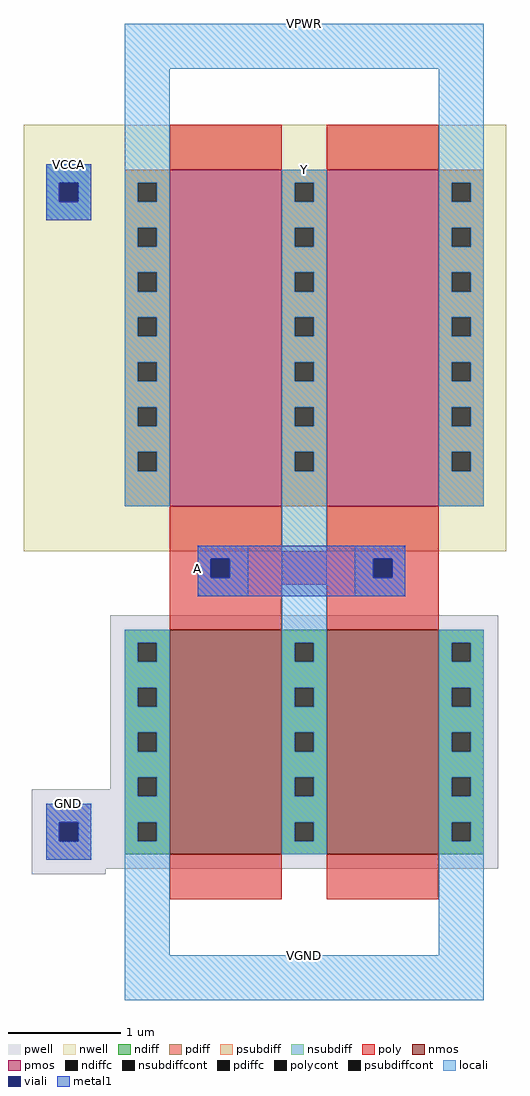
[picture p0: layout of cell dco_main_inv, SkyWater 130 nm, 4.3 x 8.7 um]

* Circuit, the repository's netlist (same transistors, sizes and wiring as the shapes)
* NGSPICE file created from dco_main_inv.ext - technology: sky130A

.subckt dco_main_inv VPWR VCCA Y GND VGND A
X0 Y A VGND GND sky130_fd_pr__nfet_01v8 ad=0.4 pd=2.4 as=0.8 ps=4.8 w=2 l=1 M=2
X1 VPWR A Y VCCA sky130_fd_pr__pfet_01v8 ad=1.2 pd=6.8 as=0.6 ps=3.4 w=3 l=1 M=2
.ends

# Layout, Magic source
magic
tech sky130A
magscale 1 2
<< nwell >>
rect -260 -80 600 680
<< pwell >>
rect -106 -504 586 -194
rect -246 -646 586 -504
rect -246 -656 -114 -646
<< nmos >>
rect 0 -620 200 -220
rect 280 -620 480 -220
<< pmos >>
rect 0 0 200 600
rect 280 0 480 600
<< ndiff >>
rect -80 -243 0 -220
rect -80 -277 -57 -243
rect -23 -277 0 -243
rect -80 -323 0 -277
rect -80 -357 -57 -323
rect -23 -357 0 -323
rect -80 -403 0 -357
rect -80 -437 -57 -403
rect -23 -437 0 -403
rect -80 -483 0 -437
rect -80 -517 -57 -483
rect -23 -517 0 -483
rect -80 -563 0 -517
rect -80 -597 -57 -563
rect -23 -597 0 -563
rect -80 -620 0 -597
rect 200 -243 280 -220
rect 200 -277 223 -243
rect 257 -277 280 -243
rect 200 -323 280 -277
rect 200 -357 223 -323
rect 257 -357 280 -323
rect 200 -403 280 -357
rect 200 -437 223 -403
rect 257 -437 280 -403
rect 200 -483 280 -437
rect 200 -517 223 -483
rect 257 -517 280 -483
rect 200 -563 280 -517
rect 200 -597 223 -563
rect 257 -597 280 -563
rect 200 -620 280 -597
rect 480 -243 560 -220
rect 480 -277 503 -243
rect 537 -277 560 -243
rect 480 -323 560 -277
rect 480 -357 503 -323
rect 537 -357 560 -323
rect 480 -403 560 -357
rect 480 -437 503 -403
rect 537 -437 560 -403
rect 480 -483 560 -437
rect 480 -517 503 -483
rect 537 -517 560 -483
rect 480 -563 560 -517
rect 480 -597 503 -563
rect 537 -597 560 -563
rect 480 -620 560 -597
<< pdiff >>
rect -80 577 0 600
rect -80 543 -57 577
rect -23 543 0 577
rect -80 497 0 543
rect -80 463 -57 497
rect -23 463 0 497
rect -80 417 0 463
rect -80 383 -57 417
rect -23 383 0 417
rect -80 337 0 383
rect -80 303 -57 337
rect -23 303 0 337
rect -80 257 0 303
rect -80 223 -57 257
rect -23 223 0 257
rect -80 177 0 223
rect -80 143 -57 177
rect -23 143 0 177
rect -80 97 0 143
rect -80 63 -57 97
rect -23 63 0 97
rect -80 0 0 63
rect 200 577 280 600
rect 200 543 223 577
rect 257 543 280 577
rect 200 497 280 543
rect 200 463 223 497
rect 257 463 280 497
rect 200 417 280 463
rect 200 383 223 417
rect 257 383 280 417
rect 200 337 280 383
rect 200 303 223 337
rect 257 303 280 337
rect 200 257 280 303
rect 200 223 223 257
rect 257 223 280 257
rect 200 177 280 223
rect 200 143 223 177
rect 257 143 280 177
rect 200 97 280 143
rect 200 63 223 97
rect 257 63 280 97
rect 200 0 280 63
rect 480 577 560 600
rect 480 543 503 577
rect 537 543 560 577
rect 480 497 560 543
rect 480 463 503 497
rect 537 463 560 497
rect 480 417 560 463
rect 480 383 503 417
rect 537 383 560 417
rect 480 337 560 383
rect 480 303 503 337
rect 537 303 560 337
rect 480 257 560 303
rect 480 223 503 257
rect 537 223 560 257
rect 480 177 560 223
rect 480 143 503 177
rect 537 143 560 177
rect 480 97 560 143
rect 480 63 503 97
rect 537 63 560 97
rect 480 0 560 63
<< ndiffc >>
rect -57 -277 -23 -243
rect -57 -357 -23 -323
rect -57 -437 -23 -403
rect -57 -517 -23 -483
rect -57 -597 -23 -563
rect 223 -277 257 -243
rect 223 -357 257 -323
rect 223 -437 257 -403
rect 223 -517 257 -483
rect 223 -597 257 -563
rect 503 -277 537 -243
rect 503 -357 537 -323
rect 503 -437 537 -403
rect 503 -517 537 -483
rect 503 -597 537 -563
<< pdiffc >>
rect -57 543 -23 577
rect -57 463 -23 497
rect -57 383 -23 417
rect -57 303 -23 337
rect -57 223 -23 257
rect -57 143 -23 177
rect -57 63 -23 97
rect 223 543 257 577
rect 223 463 257 497
rect 223 383 257 417
rect 223 303 257 337
rect 223 223 257 257
rect 223 143 257 177
rect 223 63 257 97
rect 503 543 537 577
rect 503 463 537 497
rect 503 383 537 417
rect 503 303 537 337
rect 503 223 537 257
rect 503 143 537 177
rect 503 63 537 97
<< psubdiff >>
rect -220 -563 -140 -530
rect -220 -597 -197 -563
rect -163 -597 -140 -563
rect -220 -630 -140 -597
<< nsubdiff >>
rect -220 577 -140 610
rect -220 543 -197 577
rect -163 543 -140 577
rect -220 510 -140 543
<< psubdiffcont >>
rect -197 -597 -163 -563
<< nsubdiffcont >>
rect -197 543 -163 577
<< poly >>
rect 0 600 200 680
rect 280 600 480 680
rect 0 -80 200 0
rect 280 -80 480 0
rect 0 -93 480 -80
rect 0 -127 73 -93
rect 107 -127 363 -93
rect 397 -127 480 -93
rect 0 -140 480 -127
rect 0 -220 200 -140
rect 280 -220 480 -140
rect 0 -700 200 -620
rect 280 -700 480 -620
<< polycont >>
rect 73 -127 107 -93
rect 363 -127 397 -93
<< locali >>
rect -80 780 560 860
rect -220 577 -140 610
rect -220 543 -197 577
rect -163 543 -140 577
rect -220 510 -140 543
rect -80 577 0 780
rect -80 543 -57 577
rect -23 543 0 577
rect -80 497 0 543
rect -80 463 -57 497
rect -23 463 0 497
rect -80 417 0 463
rect -80 383 -57 417
rect -23 383 0 417
rect -80 337 0 383
rect -80 303 -57 337
rect -23 303 0 337
rect -80 257 0 303
rect -80 223 -57 257
rect -23 223 0 257
rect -80 177 0 223
rect -80 143 -57 177
rect -23 143 0 177
rect -80 97 0 143
rect -80 63 -57 97
rect -23 63 0 97
rect -80 0 0 63
rect 200 577 280 600
rect 200 543 223 577
rect 257 543 280 577
rect 200 497 280 543
rect 200 463 223 497
rect 257 463 280 497
rect 200 417 280 463
rect 200 383 223 417
rect 257 383 280 417
rect 200 337 280 383
rect 200 303 223 337
rect 257 303 280 337
rect 200 257 280 303
rect 200 223 223 257
rect 257 223 280 257
rect 200 177 280 223
rect 200 143 223 177
rect 257 143 280 177
rect 200 97 280 143
rect 200 63 223 97
rect 257 63 280 97
rect 50 -93 140 -70
rect 50 -127 73 -93
rect 107 -127 140 -93
rect 50 -160 140 -127
rect -80 -243 0 -220
rect -80 -277 -57 -243
rect -23 -277 0 -243
rect -80 -323 0 -277
rect -80 -357 -57 -323
rect -23 -357 0 -323
rect -80 -403 0 -357
rect -80 -437 -57 -403
rect -23 -437 0 -403
rect -80 -483 0 -437
rect -80 -517 -57 -483
rect -23 -517 0 -483
rect -220 -563 -140 -530
rect -220 -597 -197 -563
rect -163 -597 -140 -563
rect -220 -630 -140 -597
rect -80 -563 0 -517
rect -80 -597 -57 -563
rect -23 -597 0 -563
rect -80 -800 0 -597
rect 200 -243 280 63
rect 480 577 560 780
rect 480 543 503 577
rect 537 543 560 577
rect 480 497 560 543
rect 480 463 503 497
rect 537 463 560 497
rect 480 417 560 463
rect 480 383 503 417
rect 537 383 560 417
rect 480 337 560 383
rect 480 303 503 337
rect 537 303 560 337
rect 480 257 560 303
rect 480 223 503 257
rect 537 223 560 257
rect 480 177 560 223
rect 480 143 503 177
rect 537 143 560 177
rect 480 97 560 143
rect 480 63 503 97
rect 537 63 560 97
rect 480 0 560 63
rect 330 -93 420 -70
rect 330 -127 363 -93
rect 397 -127 420 -93
rect 330 -160 420 -127
rect 200 -277 223 -243
rect 257 -277 280 -243
rect 200 -323 280 -277
rect 200 -357 223 -323
rect 257 -357 280 -323
rect 200 -403 280 -357
rect 200 -437 223 -403
rect 257 -437 280 -403
rect 200 -483 280 -437
rect 200 -517 223 -483
rect 257 -517 280 -483
rect 200 -563 280 -517
rect 200 -597 223 -563
rect 257 -597 280 -563
rect 200 -620 280 -597
rect 480 -243 560 -220
rect 480 -277 503 -243
rect 537 -277 560 -243
rect 480 -323 560 -277
rect 480 -357 503 -323
rect 537 -357 560 -323
rect 480 -403 560 -357
rect 480 -437 503 -403
rect 537 -437 560 -403
rect 480 -483 560 -437
rect 480 -517 503 -483
rect 537 -517 560 -483
rect 480 -563 560 -517
rect 480 -597 503 -563
rect 537 -597 560 -563
rect 480 -800 560 -597
rect -80 -880 560 -800
<< viali >>
rect -197 543 -163 577
rect 73 -127 107 -93
rect -197 -597 -163 -563
rect 363 -127 397 -93
<< metal1 >>
rect -220 577 -140 610
rect -220 543 -197 577
rect -163 543 -140 577
rect -220 510 -140 543
rect 50 -93 420 -70
rect 50 -127 73 -93
rect 107 -127 363 -93
rect 397 -127 420 -93
rect 50 -160 420 -127
rect -220 -563 -140 -530
rect -220 -597 -197 -563
rect -163 -597 -140 -563
rect -220 -630 -140 -597
<< labels >>
rlabel locali s 240 860 240 860 4 VPWR
rlabel metal1 s -180 610 -180 610 4 VCCA
rlabel locali s 240 600 240 600 4 Y
rlabel metal1 s -180 -530 -180 -530 4 GND
rlabel locali s 240 -800 240 -800 4 VGND
rlabel metal1 s 50 -110 50 -110 4 A
<< end >>
